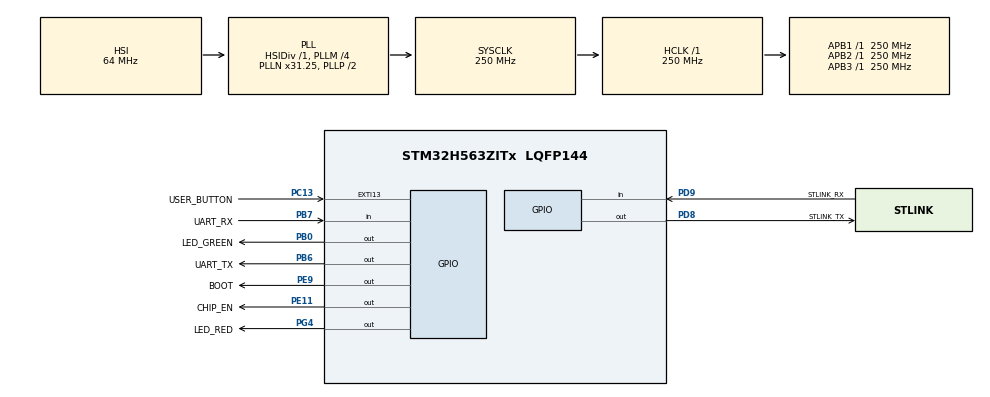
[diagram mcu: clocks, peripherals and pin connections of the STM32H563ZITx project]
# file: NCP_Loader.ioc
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BOOTPATH.BootPathName=LEGACY
BOOTPATH.UserSelectedBootPath=LEGACY
CORTEX_M33_NS.userName=CORTEX_M33
Mcu.Family=STM32H5
Mcu.Name=STM32H563ZITx
Mcu.Package=LQFP144
NUCLEO-H563ZI.BUTTON=0
NUCLEO-H563ZI.LD1=false
NUCLEO-H563ZI.LD3=false
NVIC.EXTI13_IRQn=true\:0\:0\:false\:false\:true\:false\:true\:true
NVIC.PriorityGroup=NVIC_PRIORITYGROUP_4
PB0.GPIO_Label=LED_GREEN
PB0.Signal=GPIO_Output
PB6.GPIO_FM6=SBS_FASTMODEPLUS_PB6
PB6.GPIO_Label=UART_TX
PB6.GPIO_Speed=GPIO_SPEED_FREQ_HIGH
PB6.PinState=GPIO_PIN_SET
PB6.Signal=GPIO_Output
PB7.GPIO_Label=UART_RX
PB7.Signal=GPIO_Input
PC13.GPIO_Label=USER_BUTTON
PC13.Signal=GPXTI13
PC14-OSC32_IN(OSC32_IN).Mode=LSE-External-Oscillator
PC14-OSC32_IN(OSC32_IN).Signal=RCC_OSC32_IN
PC15-OSC32_OUT(OSC32_OUT).Mode=LSE-External-Oscillator
PC15-OSC32_OUT(OSC32_OUT).Signal=RCC_OSC32_OUT
PD8.GPIO_Label=STLINK_TX
PD8.GPIO_Speed=GPIO_SPEED_FREQ_VERY_HIGH
PD8.Signal=GPIO_Output
PD9.GPIO_Label=STLINK_RX
PD9.Signal=GPIO_Input
PE11.GPIO_Label=CHIP_EN
PE11.GPIO_Speed=GPIO_SPEED_FREQ_HIGH
PE11.Signal=GPIO_Output
PE9.GPIO_Label=BOOT
PE9.Signal=GPIO_Output
PG4.GPIO_Label=LED_RED
PG4.Signal=GPIO_Output
ProjectManager.HeapSize=0x200
ProjectManager.StackSize=0x400
ProjectManager.TargetToolchain=STM32CubeIDE
RCC.ADCFreq_Value=250000000
RCC.AHBFreq_Value=250000000
RCC.APB1Freq_Value=250000000
RCC.APB1TimFreq_Value=250000000
RCC.APB2Freq_Value=250000000
RCC.APB2TimFreq_Value=250000000
RCC.APB3Freq_Value=250000000
RCC.CSI_VALUE=4000000
RCC.CortexFreq_Value=250000000
RCC.EPOD_VALUE=64000000
RCC.HCLKFreq_Value=250000000
RCC.HSE_VALUE=8000000
RCC.HSI48_VALUE=48000000
RCC.HSIDiv=RCC_HSI_DIV1
RCC.HSI_VALUE=64000000
RCC.LSIRC_VALUE=32000
RCC.PLLFRACN=2048
RCC.PLLM=4
RCC.PLLN=31
RCC.PLLSourceVirtual=RCC_PLL1_SOURCE_HSI
RCC.SYSCLKFreq_VALUE=250000000
RCC.SYSCLKSource=RCC_SYSCLKSOURCE_PLLCLK
RCC.USBFreq_Value=48000000
RCC.VCOOutputFreq_Value=500000000
VP_BOOTPATH_VS_BOOTPATH.Mode=BP_Activate
VP_CORTEX_M33_NS_VS_Hclk.Mode=Hclk_Mode
VP_ICACHE_VS_ENABLE_ICACHE_MEMORY.Mode=Memoryregions
VP_ICACHE_VS_ICACHE.Mode=DefaultMode
VP_MEMORYMAP_VS_MEMORYMAP.Mode=CurAppReg
VP_PWR_VS_DBSignals.Mode=DisableDeadBatterySignals
VP_PWR_VS_LPOM.Mode=PowerOptimisation
VP_PWR_VS_SECSignals.Mode=Security/Privilege
board=NUCLEO-H563ZI

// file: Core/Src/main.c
/* USER CODE BEGIN Header */
/**
  ******************************************************************************
  * @file    main.c
  * @author  GPM Application Team
  * @brief   Main program body
  ******************************************************************************
  * @attention
  *
  * Copyright (c) 2024 STMicroelectronics.
  * All rights reserved.
  *
  * This software is licensed under terms that can be found in the LICENSE file
  * in the root directory of this software component.
  * If no LICENSE file comes with this software, it is provided AS-IS.
  *
  ******************************************************************************
  */
/* USER CODE END Header */
#include "main.h"

/* USER CODE BEGIN PD */
#ifdef NCP_FLASH_MODE
static uint32_t ncp_flash_mode = 1;
#else
static uint32_t ncp_flash_mode = 0;
#endif /* NCP_FLASH_MODE */

/* USER CODE END PD */

void SystemClock_Config(void);
static void MX_GPIO_Init(void);
static void MX_ICACHE_Init(void);

/* USER CODE BEGIN 0 */
volatile uint32_t pushbutton = 0;

void HAL_GPIO_EXTI_Falling_Callback(uint16_t GPIO_Pin)
{
  pushbutton = 1;
}

static void uart_pass_through(void)
{
  pushbutton = 0;

  while (1)
  {
    /* Bit copy */
    /* USART_RX => STLINK_TX */
    if ((UART_RX_GPIO_Port->IDR) & ((uint32_t)UART_RX_Pin))
    {
      STLINK_TX_GPIO_Port->BSRR = (uint32_t)STLINK_TX_Pin; /* set */
    }
    else
    {
      STLINK_TX_GPIO_Port->BSRR = (uint32_t)(STLINK_TX_Pin << 16); /* reset */
    }
    /* STLINK_RX => USART_TX */
    if ((STLINK_RX_GPIO_Port->IDR) & ((uint32_t)STLINK_RX_Pin))
    {
      UART_TX_GPIO_Port->BSRR = (uint32_t)UART_TX_Pin; /* set */
    }
    else
    {
      UART_TX_GPIO_Port->BSRR = (uint32_t)(UART_TX_Pin << 16); /* reset */
    }
    if (pushbutton)
    {
      break;
    }
  }
}

static void uart_bypass(uint32_t flash)
{

  LL_GPIO_ResetOutputPin(LED_RED_GPIO_Port, LED_RED_Pin);
  LL_GPIO_ResetOutputPin(LED_GREEN_GPIO_Port, LED_GREEN_Pin);

  for (int32_t i = 0 ; i < 3; i++)
  {
    if (flash)
    {
      LL_GPIO_ResetOutputPin(LED_RED_GPIO_Port, LED_RED_Pin);
    }
    else
    {
      LL_GPIO_ResetOutputPin(LED_GREEN_GPIO_Port, LED_GREEN_Pin);
    }
    HAL_Delay(100);
    if (flash)
    {
      LL_GPIO_SetOutputPin(LED_RED_GPIO_Port, LED_RED_Pin);
    }
    else
    {
      LL_GPIO_SetOutputPin(LED_GREEN_GPIO_Port, LED_GREEN_Pin);
    }
    HAL_Delay(100);
  }

  if (flash)
  {
    LL_GPIO_SetOutputPin(BOOT_GPIO_Port, BOOT_Pin);
  }
  else
  {
    LL_GPIO_ResetOutputPin(BOOT_GPIO_Port, BOOT_Pin);
  }

  /* RESET NCP CHIP */
  LL_GPIO_ResetOutputPin(CHIP_EN_GPIO_Port, CHIP_EN_Pin);
  HAL_Delay(100);
  LL_GPIO_SetOutputPin(CHIP_EN_GPIO_Port, CHIP_EN_Pin);

  if (flash)
  {
    /* CLEAR BOOT */
    HAL_Delay(100);
    LL_GPIO_ResetOutputPin(BOOT_GPIO_Port, BOOT_Pin);
  }
  uart_pass_through();
}

/* USER CODE END 0 */

int main(void)
{

  /* MCU Configuration--------------------------------------------------------*/

  /* Reset of all peripherals, Initializes the Flash interface and the Systick. */
  HAL_Init();

  /* Configure the system clock */
  SystemClock_Config();

  /* Initialize all configured peripherals */
  MX_GPIO_Init();
  MX_ICACHE_Init();

  /* Infinite loop */
  /* USER CODE BEGIN WHILE */
  while (1)
  {
    /* Flash Bypass => Red led */
    uart_bypass(ncp_flash_mode);
    /* return when blue button is pushed */
    /* Bypass => Green led */
    uart_bypass(1 - ncp_flash_mode);
    /* USER CODE END WHILE */

  }
}

void SystemClock_Config(void)
{
  RCC_OscInitTypeDef RCC_OscInitStruct = {0};
  RCC_ClkInitTypeDef RCC_ClkInitStruct = {0};

  /** Configure the main internal regulator output voltage
  */
  __HAL_PWR_VOLTAGESCALING_CONFIG(PWR_REGULATOR_VOLTAGE_SCALE0);

  while(!__HAL_PWR_GET_FLAG(PWR_FLAG_VOSRDY)) {}

  /** Initializes the RCC Oscillators according to the specified parameters
  * in the RCC_OscInitTypeDef structure.
  */
  RCC_OscInitStruct.OscillatorType = RCC_OSCILLATORTYPE_HSI;
  RCC_OscInitStruct.HSIState = RCC_HSI_ON;
  RCC_OscInitStruct.HSIDiv = RCC_HSI_DIV1;
  RCC_OscInitStruct.HSICalibrationValue = RCC_HSICALIBRATION_DEFAULT;
  RCC_OscInitStruct.PLL.PLLState = RCC_PLL_ON;
  RCC_OscInitStruct.PLL.PLLSource = RCC_PLL1_SOURCE_HSI;
  RCC_OscInitStruct.PLL.PLLM = 4;
  RCC_OscInitStruct.PLL.PLLN = 31;
  RCC_OscInitStruct.PLL.PLLP = 2;
  RCC_OscInitStruct.PLL.PLLQ = 2;
  RCC_OscInitStruct.PLL.PLLR = 2;
  RCC_OscInitStruct.PLL.PLLRGE = RCC_PLL1_VCIRANGE_3;
  RCC_OscInitStruct.PLL.PLLVCOSEL = RCC_PLL1_VCORANGE_WIDE;
  RCC_OscInitStruct.PLL.PLLFRACN = 2048;
  if (HAL_RCC_OscConfig(&RCC_OscInitStruct) != HAL_OK)
  {
    Error_Handler();
  }

  /** Initializes the CPU, AHB and APB buses clocks
  */
  RCC_ClkInitStruct.ClockType = RCC_CLOCKTYPE_HCLK|RCC_CLOCKTYPE_SYSCLK
                              |RCC_CLOCKTYPE_PCLK1|RCC_CLOCKTYPE_PCLK2
                              |RCC_CLOCKTYPE_PCLK3;
  RCC_ClkInitStruct.SYSCLKSource = RCC_SYSCLKSOURCE_PLLCLK;
  RCC_ClkInitStruct.AHBCLKDivider = RCC_SYSCLK_DIV1;
  RCC_ClkInitStruct.APB1CLKDivider = RCC_HCLK_DIV1;
  RCC_ClkInitStruct.APB2CLKDivider = RCC_HCLK_DIV1;
  RCC_ClkInitStruct.APB3CLKDivider = RCC_HCLK_DIV1;

  if (HAL_RCC_ClockConfig(&RCC_ClkInitStruct, FLASH_LATENCY_5) != HAL_OK)
  {
    Error_Handler();
  }

  /** Configure the programming delay
  */
  __HAL_FLASH_SET_PROGRAM_DELAY(FLASH_PROGRAMMING_DELAY_2);
}

static void MX_ICACHE_Init(void)
{

  /** Enable instruction cache (default 2-ways set associative cache)
  */
  if (HAL_ICACHE_Enable() != HAL_OK)
  {
    Error_Handler();
  }

}

static void MX_GPIO_Init(void)
{
  LL_EXTI_InitTypeDef EXTI_InitStruct = {0};
  LL_GPIO_InitTypeDef GPIO_InitStruct = {0};

  /* GPIO Ports Clock Enable */
  LL_AHB2_GRP1_EnableClock(LL_AHB2_GRP1_PERIPH_GPIOC);
  LL_AHB2_GRP1_EnableClock(LL_AHB2_GRP1_PERIPH_GPIOB);
  LL_AHB2_GRP1_EnableClock(LL_AHB2_GRP1_PERIPH_GPIOA);
  //LL_AHB2_GRP1_EnableClock(LL_AHB2_GRP1_PERIPH_GPIOD);
  //LL_AHB2_GRP1_EnableClock(LL_AHB2_GRP1_PERIPH_GPIOG);

  /**/
  LL_GPIO_ResetOutputPin(LED_GREEN_GPIO_Port, LED_GREEN_Pin);

  /**/
  LL_GPIO_ResetOutputPin(GPIOA, BOOT_Pin);
  LL_GPIO_ResetOutputPin(GPIOB, CHIP_EN_Pin);

  /**/
  LL_GPIO_ResetOutputPin(STLINK_TX_GPIO_Port, STLINK_TX_Pin);

  /**/
  LL_GPIO_ResetOutputPin(LED_RED_GPIO_Port, LED_RED_Pin);

  /**/
  LL_GPIO_SetOutputPin(UART_TX_GPIO_Port, UART_TX_Pin);

  /**/
  LL_EXTI_SetEXTISource(LL_EXTI_EXTI_PORTC, LL_EXTI_EXTI_LINE13);

  /**/
  EXTI_InitStruct.Line_0_31 = LL_EXTI_LINE_13;
  EXTI_InitStruct.Line_32_63 = LL_EXTI_LINE_NONE;
  EXTI_InitStruct.LineCommand = ENABLE;
  EXTI_InitStruct.Mode = LL_EXTI_MODE_IT;
  EXTI_InitStruct.Trigger = LL_EXTI_TRIGGER_RISING;
  LL_EXTI_Init(&EXTI_InitStruct);

  /**/
  LL_GPIO_SetPinPull(USER_BUTTON_GPIO_Port, USER_BUTTON_Pin, LL_GPIO_PULL_NO);

  /**/
  LL_GPIO_SetPinMode(USER_BUTTON_GPIO_Port, USER_BUTTON_Pin, LL_GPIO_MODE_INPUT);

  /**/
  GPIO_InitStruct.Pin = LED_GREEN_Pin;
  GPIO_InitStruct.Mode = LL_GPIO_MODE_OUTPUT;
  GPIO_InitStruct.Speed = LL_GPIO_SPEED_FREQ_LOW;
  GPIO_InitStruct.OutputType = LL_GPIO_OUTPUT_PUSHPULL;
  GPIO_InitStruct.Pull = LL_GPIO_PULL_NO;
  LL_GPIO_Init(LED_GREEN_GPIO_Port, &GPIO_InitStruct);

  /**/
  GPIO_InitStruct.Pin = BOOT_Pin;
  GPIO_InitStruct.Mode = LL_GPIO_MODE_OUTPUT;
  GPIO_InitStruct.Speed = LL_GPIO_SPEED_FREQ_LOW;
  GPIO_InitStruct.OutputType = LL_GPIO_OUTPUT_PUSHPULL;
  GPIO_InitStruct.Pull = LL_GPIO_PULL_NO;
  LL_GPIO_Init(BOOT_GPIO_Port, &GPIO_InitStruct);

  /**/
  GPIO_InitStruct.Pin = CHIP_EN_Pin;
  GPIO_InitStruct.Mode = LL_GPIO_MODE_OUTPUT;
  GPIO_InitStruct.Speed = LL_GPIO_SPEED_FREQ_HIGH;
  GPIO_InitStruct.OutputType = LL_GPIO_OUTPUT_PUSHPULL;
  GPIO_InitStruct.Pull = LL_GPIO_PULL_NO;
  LL_GPIO_Init(CHIP_EN_GPIO_Port, &GPIO_InitStruct);

  /**/
  GPIO_InitStruct.Pin = STLINK_TX_Pin;
  GPIO_InitStruct.Mode = LL_GPIO_MODE_OUTPUT;
  GPIO_InitStruct.Speed = LL_GPIO_SPEED_FREQ_VERY_HIGH;
  GPIO_InitStruct.OutputType = LL_GPIO_OUTPUT_PUSHPULL;
  GPIO_InitStruct.Pull = LL_GPIO_PULL_NO;
  LL_GPIO_Init(STLINK_TX_GPIO_Port, &GPIO_InitStruct);

  /**/
  GPIO_InitStruct.Pin = STLINK_RX_Pin;
  GPIO_InitStruct.Mode = LL_GPIO_MODE_INPUT;
  GPIO_InitStruct.Pull = LL_GPIO_PULL_NO;
  LL_GPIO_Init(STLINK_RX_GPIO_Port, &GPIO_InitStruct);

  /**/
  GPIO_InitStruct.Pin = LED_RED_Pin;
  GPIO_InitStruct.Mode = LL_GPIO_MODE_OUTPUT;
  GPIO_InitStruct.Speed = LL_GPIO_SPEED_FREQ_LOW;
  GPIO_InitStruct.OutputType = LL_GPIO_OUTPUT_PUSHPULL;
  GPIO_InitStruct.Pull = LL_GPIO_PULL_NO;
  LL_GPIO_Init(LED_RED_GPIO_Port, &GPIO_InitStruct);

  /**/
  GPIO_InitStruct.Pin = UART_TX_Pin;
  GPIO_InitStruct.Mode = LL_GPIO_MODE_OUTPUT;
  GPIO_InitStruct.Speed = LL_GPIO_SPEED_FREQ_HIGH;
  GPIO_InitStruct.OutputType = LL_GPIO_OUTPUT_PUSHPULL;
  GPIO_InitStruct.Pull = LL_GPIO_PULL_NO;
  LL_GPIO_Init(UART_TX_GPIO_Port, &GPIO_InitStruct);

  /**/
  GPIO_InitStruct.Pin = UART_RX_Pin;
  GPIO_InitStruct.Mode = LL_GPIO_MODE_INPUT;
  GPIO_InitStruct.Pull = LL_GPIO_PULL_NO;
  LL_GPIO_Init(UART_RX_GPIO_Port, &GPIO_InitStruct);

  /**/
  LL_SBS_EnableFastModePlus(LL_SBS_FASTMODEPLUS_PB6);

  /* EXTI interrupt init*/
  NVIC_SetPriority(EXTI13_IRQn, NVIC_EncodePriority(NVIC_GetPriorityGrouping(),0, 0));
  NVIC_EnableIRQ(EXTI13_IRQn);

}

void Error_Handler(void)
{
  __disable_irq();
  while (1)
  {
  }
}
